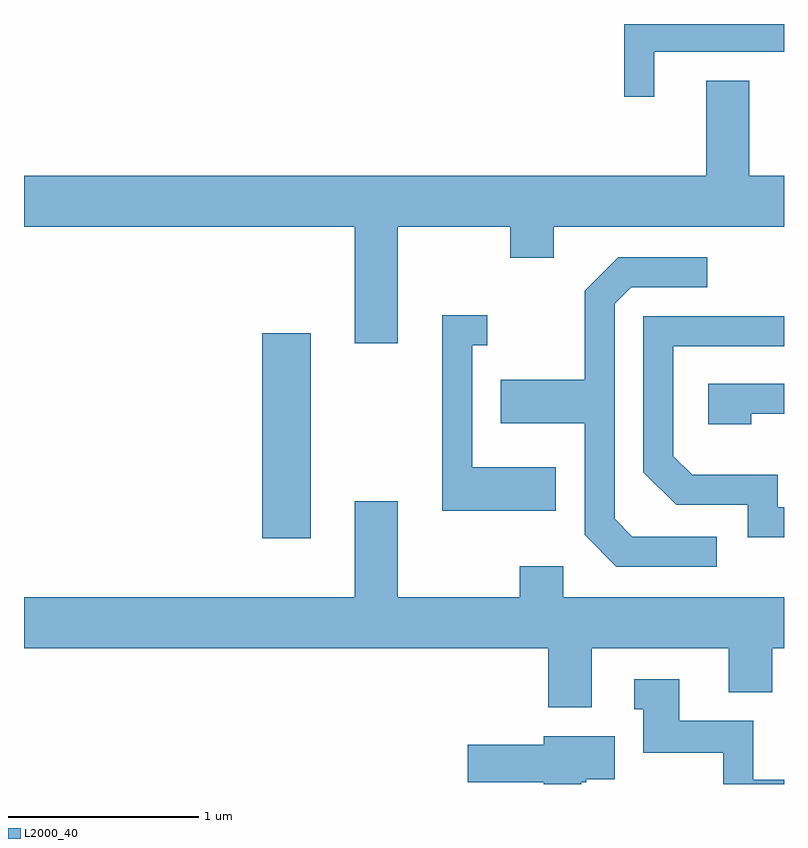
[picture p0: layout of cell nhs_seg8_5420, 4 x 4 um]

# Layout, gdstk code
import gdstk
lib = gdstk.Library(unit=1e-6, precision=1e-09)
def R(c, l, rs):  # rectangles x0, y0, x1, y1
    for r in rs: c.add(gdstk.rectangle(r[:2], r[2:], *l))
def P(c, l, *ps):  # polygons
    for p in ps: c.add(gdstk.Polygon(p, *l))
L2000_40 = (2000, 40)

nhs_seg8_5420 = lib.new_cell('nhs_seg8_5420')
R(nhs_seg8_5420, L2000_40, [(348.866,1863.636,349.119,1864.714)])
P(nhs_seg8_5420, L2000_40, [(350.929,1866.196),(351.611,1866.196),(351.611,1866.342),(350.771,1866.342),(350.771,1865.958),(350.929,1865.958)],
  [(349.579,1865.276),(350.171,1865.276),(350.171,1865.111),(350.399,1865.111),(350.399,1865.276),(351.611,1865.276),(351.611,1865.544),(351.429,1865.544),(351.429,1866.044),(351.201,1866.044),(351.201,1865.544),(347.611,1865.544),(347.611,1865.276),(349.351,1865.276),(349.351,1864.661),(349.579,1864.661)],
  [(351.258,1863.644),(350.812,1863.644),(350.719,1863.737),(350.719,1864.869),(350.807,1864.956),(351.208,1864.956),(351.208,1865.114),(350.739,1865.114),(350.561,1864.937),(350.561,1864.469),(350.121,1864.469),(350.121,1864.241),(350.561,1864.241),(350.561,1863.654),(350.729,1863.486),(351.258,1863.486)],
  [(350.409,1864.009),(349.969,1864.009),(349.969,1864.651),(350.048,1864.651),(350.048,1864.809),(349.811,1864.809),(349.811,1863.781),(350.409,1863.781)],
  [(351.611,1863.799),(351.579,1863.799),(351.579,1863.969),(351.127,1863.969),(351.029,1864.067),(351.029,1864.646),(351.611,1864.646),(351.611,1864.804),(350.871,1864.804),(350.871,1863.984),(351.044,1863.811),(351.421,1863.811),(351.421,1863.641),(351.611,1863.641)],
  [(351.439,1864.291),(351.611,1864.291),(351.611,1864.449),(351.211,1864.449),(351.211,1864.236),(351.439,1864.236)],
  [(350.599,1863.056),(351.321,1863.056),(351.321,1862.826),(351.549,1862.826),(351.549,1863.056),(351.611,1863.056),(351.611,1863.324),(350.449,1863.324),(350.449,1863.489),(350.221,1863.489),(350.221,1863.324),(349.579,1863.324),(349.579,1863.829),(349.351,1863.829),(349.351,1863.324),(347.611,1863.324),(347.611,1863.056),(350.371,1863.056),(350.371,1862.746),(350.599,1862.746)],
  [(351.611,1862.364),(351.449,1862.364),(351.449,1862.674),(351.059,1862.674),(351.059,1862.894),(350.823,1862.894),(350.823,1862.736),(350.871,1862.736),(350.871,1862.506),(351.291,1862.506),(351.291,1862.342),(351.611,1862.342)],
  [(350.544,1862.351),(350.57,1862.351),(350.57,1862.366),(350.719,1862.366),(350.719,1862.594),(350.346,1862.594),(350.346,1862.549),(349.946,1862.549),(349.946,1862.351),(350.346,1862.351),(350.346,1862.342),(350.544,1862.342)])

lib.write_gds('nhs_seg8_5420.gds')
